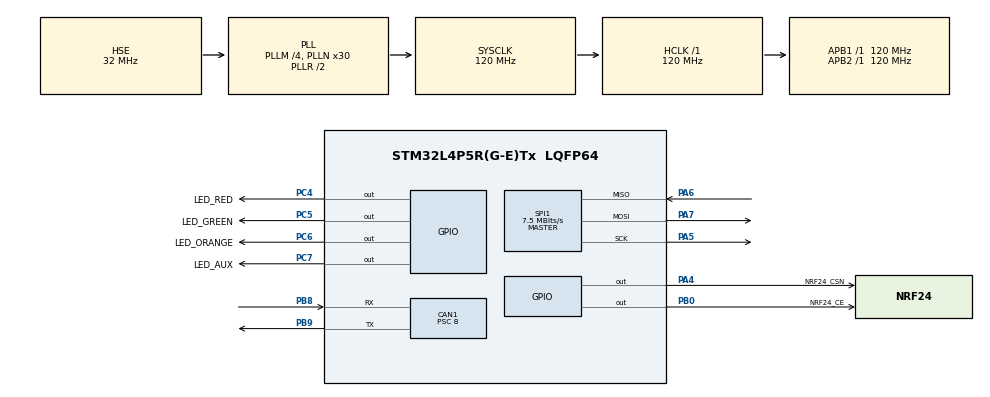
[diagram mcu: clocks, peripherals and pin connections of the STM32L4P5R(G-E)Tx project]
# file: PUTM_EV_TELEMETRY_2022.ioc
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ADC1.Channel-0\#ChannelRegularConversion=ADC_CHANNEL_VBAT
ADC1.NbrOfConversionFlag=1
ADC1.OffsetNumber-0\#ChannelRegularConversion=ADC_OFFSET_NONE
ADC1.Rank-0\#ChannelRegularConversion=1
ADC1.SamplingTime-0\#ChannelRegularConversion=ADC_SAMPLETIME_2CYCLES_5
ADC1.master=1
CAN1.BS1=CAN_BS1_12TQ
CAN1.BS2=CAN_BS2_2TQ
CAN1.CalculateBaudRate=999999
CAN1.CalculateTimeBit=1000
CAN1.CalculateTimeQuantum=66.66666666666667
CAN1.Mode=CAN_MODE_NORMAL
CAN1.Prescaler=8
CAN1.SJW=CAN_SJW_1TQ
Mcu.Family=STM32L4
Mcu.Name=STM32L4P5R(G-E)Tx
Mcu.Package=LQFP64
NVIC.CAN1_RX0_IRQn=true\:1\:0\:true\:false\:true\:true\:true\:true
NVIC.PriorityGroup=NVIC_PRIORITYGROUP_4
NVIC.TIM2_IRQn=true\:0\:0\:false\:false\:true\:true\:true\:true
NVIC.TIM3_IRQn=true\:0\:0\:false\:false\:true\:true\:true\:true
NVIC.TIM4_IRQn=true\:0\:0\:false\:false\:true\:true\:true\:true
NVIC.TIM5_IRQn=true\:0\:0\:false\:false\:true\:true\:true\:true
NVIC.TIM6_DAC_IRQn=true\:0\:0\:false\:false\:true\:true\:true\:true
PA13\ (JTMS/SWDIO).Mode=JTAG_5_pins
PA13\ (JTMS/SWDIO).Signal=SYS_JTMS-SWDIO
PA14\ (JTCK/SWCLK).Mode=JTAG_5_pins
PA14\ (JTCK/SWCLK).Signal=SYS_JTCK-SWCLK
PA15\ (JTDI).Mode=JTAG_5_pins
PA15\ (JTDI).Signal=SYS_JTDI
PA4.GPIO_Label=NRF24_CSN
PA4.Signal=GPIO_Output
PA5.Mode=Full_Duplex_Master
PA5.Signal=SPI1_SCK
PA6.Mode=Full_Duplex_Master
PA6.Signal=SPI1_MISO
PA7.Mode=Full_Duplex_Master
PA7.Signal=SPI1_MOSI
PB0.GPIO_Label=NRF24_CE
PB0.Signal=GPIO_Output
PB3\ (JTDO/TRACESWO).Mode=JTAG_5_pins
PB3\ (JTDO/TRACESWO).Signal=SYS_JTDO-SWO
PB4\ (NJTRST).Mode=JTAG_5_pins
PB4\ (NJTRST).Signal=SYS_JTRST
PB8.Mode=CAN_Activate
PB8.Signal=CAN1_RX
PB9.Mode=CAN_Activate
PB9.Signal=CAN1_TX
PC14-OSC32_IN\ (PC14).Signal=RCC_OSC32_IN
PC15-OSC32_OUT\ (PC15).Signal=RCC_OSC32_OUT
PC4.GPIO_Label=LED_RED
PC4.Signal=GPIO_Output
PC5.GPIO_Label=LED_GREEN
PC5.Signal=GPIO_Output
PC6.GPIO_Label=LED_ORANGE
PC6.Signal=GPIO_Output
PC7.GPIO_Label=LED_AUX
PC7.Signal=GPIO_Output
PH0-OSC_IN\ (PH0).Mode=HSE-External-Oscillator
PH0-OSC_IN\ (PH0).Signal=RCC_OSC_IN
PH1-OSC_OUT\ (PH1).Mode=HSE-External-Oscillator
PH1-OSC_OUT\ (PH1).Signal=RCC_OSC_OUT
ProjectManager.HeapSize=0x200
ProjectManager.StackSize=0x400
ProjectManager.TargetToolchain=STM32CubeIDE
RCC.ADCFreq_Value=32000000
RCC.AHBFreq_Value=120000000
RCC.APB1Freq_Value=120000000
RCC.APB1TimFreq_Value=120000000
RCC.APB2Freq_Value=120000000
RCC.APB2TimFreq_Value=120000000
RCC.CortexFreq_Value=120000000
RCC.HCLKFreq_Value=120000000
RCC.HSE_VALUE=32000000
RCC.HSI48_VALUE=48000000
RCC.HSI_VALUE=16000000
RCC.LSE_VALUE=32768
RCC.MSI_VALUE=4000000
RCC.PLLM1=4
RCC.PLLM2=4
RCC.PLLN=30
RCC.PLLSourceVirtual=RCC_PLLSOURCE_HSE
RCC.SYSCLKFreq_VALUE=120000000
RCC.SYSCLKSource=RCC_SYSCLKSOURCE_PLLCLK
RCC.USBFreq_Value=32000000
RCC.VCOOutputFreq_Value=240000000
RTC.Format=RTC_FORMAT_BIN
RTC.Hours=17
RTC.Minutes=13
SPI1.BaudRatePrescaler=SPI_BAUDRATEPRESCALER_16
SPI1.CalculateBaudRate=7.5 MBits/s
SPI1.DataSize=SPI_DATASIZE_8BIT
SPI1.Direction=SPI_DIRECTION_2LINES
SPI1.Mode=SPI_MODE_MASTER
SPI1.VirtualType=VM_MASTER
TIM2.AutoReloadPreload=TIM_AUTORELOAD_PRELOAD_ENABLE
TIM2.Period=10000
TIM2.Prescaler=12000-1
TIM3.AutoReloadPreload=TIM_AUTORELOAD_PRELOAD_ENABLE
TIM3.Period=100
TIM3.Prescaler=12000-1
TIM4.AutoReloadPreload=TIM_AUTORELOAD_PRELOAD_ENABLE
TIM4.Period=200
TIM4.Prescaler=12000-1
TIM5.AutoReloadPreload=TIM_AUTORELOAD_PRELOAD_ENABLE
TIM5.Period=300
TIM5.Prescaler=12000-1
TIM6.AutoReloadPreload=TIM_AUTORELOAD_PRELOAD_ENABLE
TIM6.Period=5000
TIM6.Prescaler=1200-1
TIM7.AutoReloadPreload=TIM_AUTORELOAD_PRELOAD_ENABLE
TIM7.Prescaler=120-1
VP_ADC1_Vbat_Input.Mode=IN-Vbat
VP_RTC_VS_RTC_Activate.Mode=RTC_Enabled
VP_RTC_VS_RTC_Calendar.Mode=RTC_Calendar
VP_TIM2_VS_ClockSourceINT.Mode=Internal
VP_TIM3_VS_ClockSourceINT.Mode=Internal
VP_TIM4_VS_ClockSourceINT.Mode=Internal
VP_TIM5_VS_ClockSourceINT.Mode=Internal
VP_TIM6_VS_ClockSourceINT.Mode=Enable_Timer
VP_TIM7_VS_ClockSourceINT.Mode=Enable_Timer
board=custom

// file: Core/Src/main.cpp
/* USER CODE BEGIN Header */
/**
 ******************************************************************************
 * @file           : main.c
 * @brief          : Main program body
 ******************************************************************************
 * @attention
 *
 * <h2><center>&copy; Copyright (c) 2022 STMicroelectronics.
 * All rights reserved.</center></h2>
 *
 * This software component is licensed by ST under BSD 3-Clause license,
 * the "License"; You may not use this file except in compliance with the
 * License. You may obtain a copy of the License at:
 *                        opensource.org/licenses/BSD-3-Clause
 *
 ******************************************************************************
 */
/* USER CODE END Header */
#include "main.h"

/* USER CODE BEGIN Includes */
#include "Data_Handling.hpp"
#include "LEDs.hpp"
#include "Radio_Control.hpp"
#include "etl/circular_buffer.h"
#include <vector>
/* USER CODE END Includes */

/* USER CODE BEGIN PTD */
CAN_FilterTypeDef flitr1;
CAN_RxHeaderTypeDef RxHeader_CAN1;
/* USER CODE END PTD */

ADC_HandleTypeDef hadc1;

CAN_HandleTypeDef hcan1;

RTC_HandleTypeDef hrtc;

SPI_HandleTypeDef hspi1;

TIM_HandleTypeDef htim2;
TIM_HandleTypeDef htim3;
TIM_HandleTypeDef htim4;
TIM_HandleTypeDef htim5;
TIM_HandleTypeDef htim6;
TIM_HandleTypeDef htim7;

void SystemClock_Config(void);
static void MX_GPIO_Init(void);
static void MX_CAN1_Init(void);
static void MX_SPI1_Init(void);
static void MX_TIM2_Init(void);
static void MX_RTC_Init(void);
static void MX_ADC1_Init(void);
static void MX_TIM3_Init(void);
static void MX_TIM4_Init(void);
static void MX_TIM5_Init(void);
static void MX_TIM6_Init(void);
static void MX_TIM7_Init(void);

/* USER CODE BEGIN 0 */
Data_management handler1;
HeartBeat hb1;
const bool Frame_By_Frame = false;
/* USER CODE END 0 */

int main(void)
{

  /* MCU Configuration--------------------------------------------------------*/

  /* Reset of all peripherals, Initializes the Flash interface and the Systick. */
  HAL_Init();

  /* Configure the system clock */
  SystemClock_Config();

  /* Initialize all configured peripherals */
  MX_GPIO_Init();
  MX_CAN1_Init();
  MX_SPI1_Init();
  MX_TIM2_Init();
  MX_RTC_Init();
  MX_ADC1_Init();
  MX_TIM3_Init();
  MX_TIM4_Init();
  MX_TIM5_Init();
  MX_TIM6_Init();
  MX_TIM7_Init();
  /* USER CODE BEGIN 2 */

    Clear_All();

    Start();

    Open_Filter();

    CAN_Init();

    if (Setup_Radio_As_Transmiter() == false)
    {
        Set_Error();
        Set_All();
        Error_Handler();
        //handler1.Pass_States(RADIO_ERROR);
    }
    else
    {
        Set_OK();
    }

    if (Frame_By_Frame == true)
    {
        // HAL_TIM_Base_Start_IT(&htim2);
        hb1 = HeartBeat::FRAME_BY_FRAME;
    }
    else
    {
        //HAL_TIM_Base_Start_IT(&htim2);
        HAL_TIM_Base_Start_IT(&htim3);
        HAL_TIM_Base_Start_IT(&htim4);
        HAL_TIM_Base_Start_IT(&htim5);
        HAL_TIM_Base_Start_IT(&htim6);
        hb1 = HeartBeat::DEFAULT;
    }
  /* USER CODE END 2 */

  /* Infinite loop */
    while (1)
    {

    /* USER CODE BEGIN 3 */
        /*
         * Regular state of the code, used to receive, pack and send data
         */

        switch (hb1)
        {
            case HeartBeat::Buffer1:

                Send_Data(handler1.Check_Buffer100hz());
                HAL_Delay(1);
                Send_Data(handler1.Check_Buffer_Aq());
                HAL_Delay(1);
                //handler1.Clear_msg1();

                break;

            case HeartBeat::Buffer2:

                Send_Data(handler1.Check_Buffer50hz());
                HAL_Delay(1);

                break;

            case HeartBeat::Buffer3:

                Send_Data(handler1.Check_Buffer10hz());
                HAL_Delay(1);
                handler1.Check_Buffer_Laptimer();
            	if(handler1.timer_buffer.size() > 0)
            	{
            		uint8_t tmp[32] = {*(handler1.timer_buffer.back())};
            		Send_Data(handler1.timer_buffer.back());
            		handler1.timer_buffer.pop_back();
            	}
                break;

            case HeartBeat::Buffer4:

            	Send_Data(handler1.Check_Buffer1hz());
            	HAL_Delay(1);

            case HeartBeat::DEFAULT:

                break;
        }
    }
  /* USER CODE END 3 */
}

void SystemClock_Config(void)
{
  RCC_OscInitTypeDef RCC_OscInitStruct = {0};
  RCC_ClkInitTypeDef RCC_ClkInitStruct = {0};

  /** Configure the main internal regulator output voltage
  */
  if (HAL_PWREx_ControlVoltageScaling(PWR_REGULATOR_VOLTAGE_SCALE1_BOOST) != HAL_OK)
  {
    Error_Handler();
  }

  /** Initializes the RCC Oscillators according to the specified parameters
  * in the RCC_OscInitTypeDef structure.
  */
  RCC_OscInitStruct.OscillatorType = RCC_OSCILLATORTYPE_LSI|RCC_OSCILLATORTYPE_HSE;
  RCC_OscInitStruct.HSEState = RCC_HSE_ON;
  RCC_OscInitStruct.LSIState = RCC_LSI_ON;
  RCC_OscInitStruct.PLL.PLLState = RCC_PLL_ON;
  RCC_OscInitStruct.PLL.PLLSource = RCC_PLLSOURCE_HSE;
  RCC_OscInitStruct.PLL.PLLM = 4;
  RCC_OscInitStruct.PLL.PLLN = 30;
  RCC_OscInitStruct.PLL.PLLP = RCC_PLLP_DIV2;
  RCC_OscInitStruct.PLL.PLLQ = RCC_PLLQ_DIV2;
  RCC_OscInitStruct.PLL.PLLR = RCC_PLLR_DIV2;
  if (HAL_RCC_OscConfig(&RCC_OscInitStruct) != HAL_OK)
  {
    Error_Handler();
  }

  /** Initializes the CPU, AHB and APB buses clocks
  */
  RCC_ClkInitStruct.ClockType = RCC_CLOCKTYPE_HCLK|RCC_CLOCKTYPE_SYSCLK
                              |RCC_CLOCKTYPE_PCLK1|RCC_CLOCKTYPE_PCLK2;
  RCC_ClkInitStruct.SYSCLKSource = RCC_SYSCLKSOURCE_PLLCLK;
  RCC_ClkInitStruct.AHBCLKDivider = RCC_SYSCLK_DIV1;
  RCC_ClkInitStruct.APB1CLKDivider = RCC_HCLK_DIV1;
  RCC_ClkInitStruct.APB2CLKDivider = RCC_HCLK_DIV1;

  if (HAL_RCC_ClockConfig(&RCC_ClkInitStruct, FLASH_LATENCY_5) != HAL_OK)
  {
    Error_Handler();
  }
}

static void MX_ADC1_Init(void)
{

  ADC_MultiModeTypeDef multimode = {0};
  ADC_ChannelConfTypeDef sConfig = {0};

  /** Common config
  */
  hadc1.Instance = ADC1;
  hadc1.Init.ClockPrescaler = ADC_CLOCK_ASYNC_DIV1;
  hadc1.Init.Resolution = ADC_RESOLUTION_12B;
  hadc1.Init.DataAlign = ADC_DATAALIGN_RIGHT;
  hadc1.Init.ScanConvMode = ADC_SCAN_DISABLE;
  hadc1.Init.EOCSelection = ADC_EOC_SINGLE_CONV;
  hadc1.Init.LowPowerAutoWait = DISABLE;
  hadc1.Init.ContinuousConvMode = DISABLE;
  hadc1.Init.NbrOfConversion = 1;
  hadc1.Init.DiscontinuousConvMode = DISABLE;
  hadc1.Init.ExternalTrigConv = ADC_SOFTWARE_START;
  hadc1.Init.ExternalTrigConvEdge = ADC_EXTERNALTRIGCONVEDGE_NONE;
  hadc1.Init.DMAContinuousRequests = DISABLE;
  hadc1.Init.Overrun = ADC_OVR_DATA_PRESERVED;
  hadc1.Init.OversamplingMode = DISABLE;
  hadc1.Init.DFSDMConfig = ADC_DFSDM_MODE_ENABLE;
  if (HAL_ADC_Init(&hadc1) != HAL_OK)
  {
    Error_Handler();
  }

  /** Configure the ADC multi-mode
  */
  multimode.Mode = ADC_MODE_INDEPENDENT;
  if (HAL_ADCEx_MultiModeConfigChannel(&hadc1, &multimode) != HAL_OK)
  {
    Error_Handler();
  }

  /** Configure Regular Channel
  */
  sConfig.Channel = ADC_CHANNEL_VBAT;
  sConfig.Rank = ADC_REGULAR_RANK_1;
  sConfig.SamplingTime = ADC_SAMPLETIME_2CYCLES_5;
  sConfig.SingleDiff = ADC_SINGLE_ENDED;
  sConfig.OffsetNumber = ADC_OFFSET_NONE;
  sConfig.Offset = 0;
  if (HAL_ADC_ConfigChannel(&hadc1, &sConfig) != HAL_OK)
  {
    Error_Handler();
  }

}

static void MX_CAN1_Init(void)
{

  hcan1.Instance = CAN1;
  hcan1.Init.Prescaler = 8;
  hcan1.Init.Mode = CAN_MODE_NORMAL;
  hcan1.Init.SyncJumpWidth = CAN_SJW_1TQ;
  hcan1.Init.TimeSeg1 = CAN_BS1_12TQ;
  hcan1.Init.TimeSeg2 = CAN_BS2_2TQ;
  hcan1.Init.TimeTriggeredMode = DISABLE;
  hcan1.Init.AutoBusOff = DISABLE;
  hcan1.Init.AutoWakeUp = DISABLE;
  hcan1.Init.AutoRetransmission = DISABLE;
  hcan1.Init.ReceiveFifoLocked = DISABLE;
  hcan1.Init.TransmitFifoPriority = DISABLE;
  if (HAL_CAN_Init(&hcan1) != HAL_OK)
  {
    Error_Handler();
  }

}

static void MX_RTC_Init(void)
{

  RTC_TimeTypeDef sTime = {0};
  RTC_DateTypeDef sDate = {0};

  /** Initialize RTC Only
  */
  hrtc.Instance = RTC;
  hrtc.Init.HourFormat = RTC_HOURFORMAT_24;
  hrtc.Init.AsynchPrediv = 127;
  hrtc.Init.SynchPrediv = 255;
  hrtc.Init.OutPut = RTC_OUTPUT_DISABLE;
  hrtc.Init.OutPutRemap = RTC_OUTPUT_REMAP_NONE;
  hrtc.Init.OutPutPolarity = RTC_OUTPUT_POLARITY_HIGH;
  hrtc.Init.OutPutType = RTC_OUTPUT_TYPE_OPENDRAIN;
  hrtc.Init.BinMode = RTC_BINARY_NONE;
  if (HAL_RTC_Init(&hrtc) != HAL_OK)
  {
    Error_Handler();
  }

  /** Initialize RTC and set the Time and Date
  */
  sTime.Hours = 17;
  sTime.Minutes = 13;
  sTime.Seconds = 0;
  sTime.DayLightSaving = RTC_DAYLIGHTSAVING_NONE;
  sTime.StoreOperation = RTC_STOREOPERATION_RESET;
  if (HAL_RTC_SetTime(&hrtc, &sTime, RTC_FORMAT_BIN) != HAL_OK)
  {
    Error_Handler();
  }
  sDate.WeekDay = RTC_WEEKDAY_MONDAY;
  sDate.Month = RTC_MONTH_JANUARY;
  sDate.Date = 1;
  sDate.Year = 0;

  if (HAL_RTC_SetDate(&hrtc, &sDate, RTC_FORMAT_BIN) != HAL_OK)
  {
    Error_Handler();
  }

}

static void MX_SPI1_Init(void)
{

  /* SPI1 parameter configuration*/
  hspi1.Instance = SPI1;
  hspi1.Init.Mode = SPI_MODE_MASTER;
  hspi1.Init.Direction = SPI_DIRECTION_2LINES;
  hspi1.Init.DataSize = SPI_DATASIZE_8BIT;
  hspi1.Init.CLKPolarity = SPI_POLARITY_LOW;
  hspi1.Init.CLKPhase = SPI_PHASE_1EDGE;
  hspi1.Init.NSS = SPI_NSS_SOFT;
  hspi1.Init.BaudRatePrescaler = SPI_BAUDRATEPRESCALER_16;
  hspi1.Init.FirstBit = SPI_FIRSTBIT_MSB;
  hspi1.Init.TIMode = SPI_TIMODE_DISABLE;
  hspi1.Init.CRCCalculation = SPI_CRCCALCULATION_DISABLE;
  hspi1.Init.CRCPolynomial = 7;
  hspi1.Init.CRCLength = SPI_CRC_LENGTH_DATASIZE;
  hspi1.Init.NSSPMode = SPI_NSS_PULSE_ENABLE;
  if (HAL_SPI_Init(&hspi1) != HAL_OK)
  {
    Error_Handler();
  }

}

static void MX_TIM2_Init(void)
{

  TIM_ClockConfigTypeDef sClockSourceConfig = {0};
  TIM_MasterConfigTypeDef sMasterConfig = {0};

  htim2.Instance = TIM2;
  htim2.Init.Prescaler = 12000-1;
  htim2.Init.CounterMode = TIM_COUNTERMODE_UP;
  htim2.Init.Period = 10000;
  htim2.Init.ClockDivision = TIM_CLOCKDIVISION_DIV1;
  htim2.Init.AutoReloadPreload = TIM_AUTORELOAD_PRELOAD_ENABLE;
  if (HAL_TIM_Base_Init(&htim2) != HAL_OK)
  {
    Error_Handler();
  }
  sClockSourceConfig.ClockSource = TIM_CLOCKSOURCE_INTERNAL;
  if (HAL_TIM_ConfigClockSource(&htim2, &sClockSourceConfig) != HAL_OK)
  {
    Error_Handler();
  }
  sMasterConfig.MasterOutputTrigger = TIM_TRGO_RESET;
  sMasterConfig.MasterSlaveMode = TIM_MASTERSLAVEMODE_DISABLE;
  if (HAL_TIMEx_MasterConfigSynchronization(&htim2, &sMasterConfig) != HAL_OK)
  {
    Error_Handler();
  }

}

static void MX_TIM3_Init(void)
{

  TIM_ClockConfigTypeDef sClockSourceConfig = {0};
  TIM_MasterConfigTypeDef sMasterConfig = {0};

  htim3.Instance = TIM3;
  htim3.Init.Prescaler = 12000-1;
  htim3.Init.CounterMode = TIM_COUNTERMODE_UP;
  htim3.Init.Period = 100;
  htim3.Init.ClockDivision = TIM_CLOCKDIVISION_DIV1;
  htim3.Init.AutoReloadPreload = TIM_AUTORELOAD_PRELOAD_ENABLE;
  if (HAL_TIM_Base_Init(&htim3) != HAL_OK)
  {
    Error_Handler();
  }
  sClockSourceConfig.ClockSource = TIM_CLOCKSOURCE_INTERNAL;
  if (HAL_TIM_ConfigClockSource(&htim3, &sClockSourceConfig) != HAL_OK)
  {
    Error_Handler();
  }
  sMasterConfig.MasterOutputTrigger = TIM_TRGO_RESET;
  sMasterConfig.MasterSlaveMode = TIM_MASTERSLAVEMODE_DISABLE;
  if (HAL_TIMEx_MasterConfigSynchronization(&htim3, &sMasterConfig) != HAL_OK)
  {
    Error_Handler();
  }

}

static void MX_TIM4_Init(void)
{

  TIM_ClockConfigTypeDef sClockSourceConfig = {0};
  TIM_MasterConfigTypeDef sMasterConfig = {0};

  htim4.Instance = TIM4;
  htim4.Init.Prescaler = 12000-1;
  htim4.Init.CounterMode = TIM_COUNTERMODE_UP;
  htim4.Init.Period = 200;
  htim4.Init.ClockDivision = TIM_CLOCKDIVISION_DIV1;
  htim4.Init.AutoReloadPreload = TIM_AUTORELOAD_PRELOAD_ENABLE;
  if (HAL_TIM_Base_Init(&htim4) != HAL_OK)
  {
    Error_Handler();
  }
  sClockSourceConfig.ClockSource = TIM_CLOCKSOURCE_INTERNAL;
  if (HAL_TIM_ConfigClockSource(&htim4, &sClockSourceConfig) != HAL_OK)
  {
    Error_Handler();
  }
  sMasterConfig.MasterOutputTrigger = TIM_TRGO_RESET;
  sMasterConfig.MasterSlaveMode = TIM_MASTERSLAVEMODE_DISABLE;
  if (HAL_TIMEx_MasterConfigSynchronization(&htim4, &sMasterConfig) != HAL_OK)
  {
    Error_Handler();
  }

}

static void MX_TIM5_Init(void)
{

  TIM_ClockConfigTypeDef sClockSourceConfig = {0};
  TIM_MasterConfigTypeDef sMasterConfig = {0};

  htim5.Instance = TIM5;
  htim5.Init.Prescaler = 12000-1;
  htim5.Init.CounterMode = TIM_COUNTERMODE_UP;
  htim5.Init.Period = 300;
  htim5.Init.ClockDivision = TIM_CLOCKDIVISION_DIV1;
  htim5.Init.AutoReloadPreload = TIM_AUTORELOAD_PRELOAD_ENABLE;
  if (HAL_TIM_Base_Init(&htim5) != HAL_OK)
  {
    Error_Handler();
  }
  sClockSourceConfig.ClockSource = TIM_CLOCKSOURCE_INTERNAL;
  if (HAL_TIM_ConfigClockSource(&htim5, &sClockSourceConfig) != HAL_OK)
  {
    Error_Handler();
  }
  sMasterConfig.MasterOutputTrigger = TIM_TRGO_RESET;
  sMasterConfig.MasterSlaveMode = TIM_MASTERSLAVEMODE_DISABLE;
  if (HAL_TIMEx_MasterConfigSynchronization(&htim5, &sMasterConfig) != HAL_OK)
  {
    Error_Handler();
  }

}

static void MX_TIM6_Init(void)
{

  TIM_MasterConfigTypeDef sMasterConfig = {0};

  htim6.Instance = TIM6;
  htim6.Init.Prescaler = 1200-1;
  htim6.Init.CounterMode = TIM_COUNTERMODE_UP;
  htim6.Init.Period = 5000;
  htim6.Init.AutoReloadPreload = TIM_AUTORELOAD_PRELOAD_ENABLE;
  if (HAL_TIM_Base_Init(&htim6) != HAL_OK)
  {
    Error_Handler();
  }
  sMasterConfig.MasterOutputTrigger = TIM_TRGO_RESET;
  sMasterConfig.MasterSlaveMode = TIM_MASTERSLAVEMODE_DISABLE;
  if (HAL_TIMEx_MasterConfigSynchronization(&htim6, &sMasterConfig) != HAL_OK)
  {
    Error_Handler();
  }

}

static void MX_TIM7_Init(void)
{

  TIM_MasterConfigTypeDef sMasterConfig = {0};

  htim7.Instance = TIM7;
  htim7.Init.Prescaler = 120-1;
  htim7.Init.CounterMode = TIM_COUNTERMODE_UP;
  htim7.Init.Period = 65535;
  htim7.Init.AutoReloadPreload = TIM_AUTORELOAD_PRELOAD_ENABLE;
  if (HAL_TIM_Base_Init(&htim7) != HAL_OK)
  {
    Error_Handler();
  }
  sMasterConfig.MasterOutputTrigger = TIM_TRGO_RESET;
  sMasterConfig.MasterSlaveMode = TIM_MASTERSLAVEMODE_DISABLE;
  if (HAL_TIMEx_MasterConfigSynchronization(&htim7, &sMasterConfig) != HAL_OK)
  {
    Error_Handler();
  }

}

static void MX_GPIO_Init(void)
{
  GPIO_InitTypeDef GPIO_InitStruct = {0};

  /* GPIO Ports Clock Enable */
  __HAL_RCC_GPIOC_CLK_ENABLE();
  __HAL_RCC_GPIOH_CLK_ENABLE();
  __HAL_RCC_GPIOA_CLK_ENABLE();
  __HAL_RCC_GPIOB_CLK_ENABLE();

  /*Configure GPIO pin Output Level */
  HAL_GPIO_WritePin(NRF24_CSN_GPIO_Port, NRF24_CSN_Pin, GPIO_PIN_RESET);

  /*Configure GPIO pin Output Level */
  HAL_GPIO_WritePin(GPIOC, LED_RED_Pin|LED_GREEN_Pin|LED_ORANGE_Pin|LED_AUX_Pin, GPIO_PIN_RESET);

  /*Configure GPIO pin Output Level */
  HAL_GPIO_WritePin(NRF24_CE_GPIO_Port, NRF24_CE_Pin, GPIO_PIN_RESET);

  /*Configure GPIO pin : NRF24_CSN_Pin */
  GPIO_InitStruct.Pin = NRF24_CSN_Pin;
  GPIO_InitStruct.Mode = GPIO_MODE_OUTPUT_PP;
  GPIO_InitStruct.Pull = GPIO_NOPULL;
  GPIO_InitStruct.Speed = GPIO_SPEED_FREQ_LOW;
  HAL_GPIO_Init(NRF24_CSN_GPIO_Port, &GPIO_InitStruct);

  /*Configure GPIO pins : LED_RED_Pin LED_GREEN_Pin LED_ORANGE_Pin LED_AUX_Pin */
  GPIO_InitStruct.Pin = LED_RED_Pin|LED_GREEN_Pin|LED_ORANGE_Pin|LED_AUX_Pin;
  GPIO_InitStruct.Mode = GPIO_MODE_OUTPUT_PP;
  GPIO_InitStruct.Pull = GPIO_NOPULL;
  GPIO_InitStruct.Speed = GPIO_SPEED_FREQ_LOW;
  HAL_GPIO_Init(GPIOC, &GPIO_InitStruct);

  /*Configure GPIO pin : NRF24_CE_Pin */
  GPIO_InitStruct.Pin = NRF24_CE_Pin;
  GPIO_InitStruct.Mode = GPIO_MODE_OUTPUT_PP;
  GPIO_InitStruct.Pull = GPIO_NOPULL;
  GPIO_InitStruct.Speed = GPIO_SPEED_FREQ_LOW;
  HAL_GPIO_Init(NRF24_CE_GPIO_Port, &GPIO_InitStruct);

}

void Error_Handler(void)
{
  /* USER CODE BEGIN Error_Handler_Debug */
    /* User can add his own implementation to report the HAL error return state
     */
    __disable_irq();
    while (1)
    {
    }
  /* USER CODE END Error_Handler_Debug */
}

#ifdef  USE_FULL_ASSERT
/**
  * @brief  Reports the name of the source file and the source line number
  *         where the assert_param error has occurred.
  * @param  file: pointer to the source file name
  * @param  line: assert_param error line source number
  * @retval None
  */
void assert_failed(uint8_t *file, uint32_t line)
{
  /* USER CODE BEGIN 6 */
    /* User can add his own implementation to report the file name and line
 number, ex: printf("Wrong parameters value: file %s on line %d\r\n", file,
 line) */
  /* USER CODE END 6 */
}
#endif /* USE_FULL_ASSERT */
